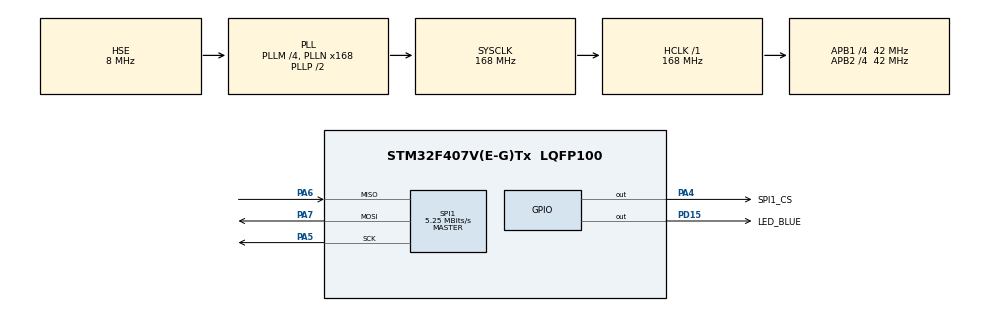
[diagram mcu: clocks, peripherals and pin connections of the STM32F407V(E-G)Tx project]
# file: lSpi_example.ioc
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Mcu.Family=STM32F4
Mcu.Name=STM32F407V(E-G)Tx
Mcu.Package=LQFP100
NVIC.PriorityGroup=NVIC_PRIORITYGROUP_4
PA13.Mode=Trace_Asynchronous_SW
PA13.Signal=SYS_JTMS-SWDIO
PA14.Mode=Trace_Asynchronous_SW
PA14.Signal=SYS_JTCK-SWCLK
PA4.GPIO_Label=SPI1_CS
PA4.GPIO_Speed=GPIO_SPEED_FREQ_HIGH
PA4.PinState=GPIO_PIN_SET
PA4.Signal=GPIO_Output
PA5.Mode=Full_Duplex_Master
PA5.Signal=SPI1_SCK
PA6.Mode=Full_Duplex_Master
PA6.Signal=SPI1_MISO
PA7.Mode=Full_Duplex_Master
PA7.Signal=SPI1_MOSI
PB3.Mode=Trace_Asynchronous_SW
PB3.Signal=SYS_JTDO-SWO
PD15.GPIO_Label=LED_BLUE
PD15.Signal=GPIO_Output
PH0-OSC_IN.Mode=HSE-External-Oscillator
PH0-OSC_IN.Signal=RCC_OSC_IN
PH1-OSC_OUT.Mode=HSE-External-Oscillator
PH1-OSC_OUT.Signal=RCC_OSC_OUT
ProjectManager.HeapSize=0x200
ProjectManager.StackSize=0x400
ProjectManager.TargetToolchain=STM32CubeIDE
RCC.48MHZClocksFreq_Value=84000000
RCC.AHBFreq_Value=168000000
RCC.APB1CLKDivider=RCC_HCLK_DIV4
RCC.APB1Freq_Value=42000000
RCC.APB1TimFreq_Value=84000000
RCC.APB2CLKDivider=RCC_HCLK_DIV4
RCC.APB2Freq_Value=42000000
RCC.APB2TimFreq_Value=84000000
RCC.CortexFreq_Value=168000000
RCC.HCLKFreq_Value=168000000
RCC.HSE_VALUE=8000000
RCC.HSI_VALUE=16000000
RCC.LSE_VALUE=32768
RCC.PLLM=4
RCC.PLLN=168
RCC.PLLSourceVirtual=RCC_PLLSOURCE_HSE
RCC.SYSCLKFreq_VALUE=168000000
RCC.SYSCLKSource=RCC_SYSCLKSOURCE_PLLCLK
RCC.VCOOutputFreq_Value=336000000
SPI1.BaudRatePrescaler=SPI_BAUDRATEPRESCALER_8
SPI1.CLKPhase=SPI_PHASE_2EDGE
SPI1.CLKPolarity=SPI_POLARITY_HIGH
SPI1.CalculateBaudRate=5.25 MBits/s
SPI1.Direction=SPI_DIRECTION_2LINES
SPI1.Mode=SPI_MODE_MASTER
SPI1.VirtualType=VM_MASTER
board=custom

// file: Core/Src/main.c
/* USER CODE BEGIN Header */
/**
  ******************************************************************************
  * @file           : main.c
  * @brief          : Main program body
  ******************************************************************************
  * @attention
  *
  * <h2><center>&copy; Copyright (c) 2020 STMicroelectronics.
  * All rights reserved.</center></h2>
  *
  * This software component is licensed by ST under BSD 3-Clause license,
  * the "License"; You may not use this file except in compliance with the
  * License. You may obtain a copy of the License at:
  *                        opensource.org/licenses/BSD-3-Clause
  *
  ******************************************************************************
  */
/* USER CODE END Header */
#include "main.h"

/* USER CODE BEGIN Includes */
#include "lSpi.h"
/* USER CODE END Includes */

void SystemClock_Config(void);
static void MX_GPIO_Init(void);
static void MX_SPI1_Init(void);

/* USER CODE BEGIN 0 */

/* Sample functions for simple SPI controlled device
 * Device tested: BMP183, full duplex
 *
 * CPOl: high, CPHA: 2 (rising edge)
 */
#define DEVICE_SPI	SPI1
#define DEVICE_GPIO	SPI1_CS_GPIO_Port
#define DEVICE_PIN	SPI1_CS_Pin

void device_writeReg(uint8_t reg_address, uint8_t reg_data)
{
	HAL_GPIO_WritePin(DEVICE_GPIO, DEVICE_PIN, 0);
	lSpi_master_writeReg(DEVICE_SPI, reg_address, reg_data);
	HAL_GPIO_WritePin(DEVICE_GPIO, DEVICE_PIN, 1);
}

void device_readReg(uint8_t reg_addres, uint8_t *data)
{
	HAL_GPIO_WritePin(DEVICE_GPIO, DEVICE_PIN, 0);
	lSpi_master_readReg(DEVICE_SPI, reg_addres, data);
	HAL_GPIO_WritePin(DEVICE_GPIO, DEVICE_PIN, 1);
}

/* USER CODE END 0 */

int main(void)
{

  /* MCU Configuration--------------------------------------------------------*/

  /* Reset of all peripherals, Initializes the Flash interface and the Systick. */
  HAL_Init();

  /* Configure the system clock */
  SystemClock_Config();

  /* Initialize all configured peripherals */
  MX_GPIO_Init();
  MX_SPI1_Init();
  /* USER CODE BEGIN 2 */

  lSpi_init(DEVICE_SPI);

  uint8_t dev_id;
  device_readReg(0xd0, &dev_id);

  /* USER CODE END 2 */

  /* Infinite loop */
  /* USER CODE BEGIN WHILE */
  while (1)
  {
  	HAL_GPIO_TogglePin(LED_BLUE_GPIO_Port, LED_BLUE_Pin);
  	HAL_Delay(500);
    /* USER CODE END WHILE */

  }
}

void SystemClock_Config(void)
{
  RCC_OscInitTypeDef RCC_OscInitStruct = {0};
  RCC_ClkInitTypeDef RCC_ClkInitStruct = {0};

  /** Configure the main internal regulator output voltage
  */
  __HAL_RCC_PWR_CLK_ENABLE();
  __HAL_PWR_VOLTAGESCALING_CONFIG(PWR_REGULATOR_VOLTAGE_SCALE1);
  /** Initializes the RCC Oscillators according to the specified parameters
  * in the RCC_OscInitTypeDef structure.
  */
  RCC_OscInitStruct.OscillatorType = RCC_OSCILLATORTYPE_HSE;
  RCC_OscInitStruct.HSEState = RCC_HSE_ON;
  RCC_OscInitStruct.PLL.PLLState = RCC_PLL_ON;
  RCC_OscInitStruct.PLL.PLLSource = RCC_PLLSOURCE_HSE;
  RCC_OscInitStruct.PLL.PLLM = 4;
  RCC_OscInitStruct.PLL.PLLN = 168;
  RCC_OscInitStruct.PLL.PLLP = RCC_PLLP_DIV2;
  RCC_OscInitStruct.PLL.PLLQ = 4;
  if (HAL_RCC_OscConfig(&RCC_OscInitStruct) != HAL_OK)
  {
    Error_Handler();
  }
  /** Initializes the CPU, AHB and APB buses clocks
  */
  RCC_ClkInitStruct.ClockType = RCC_CLOCKTYPE_HCLK|RCC_CLOCKTYPE_SYSCLK
                              |RCC_CLOCKTYPE_PCLK1|RCC_CLOCKTYPE_PCLK2;
  RCC_ClkInitStruct.SYSCLKSource = RCC_SYSCLKSOURCE_PLLCLK;
  RCC_ClkInitStruct.AHBCLKDivider = RCC_SYSCLK_DIV1;
  RCC_ClkInitStruct.APB1CLKDivider = RCC_HCLK_DIV4;
  RCC_ClkInitStruct.APB2CLKDivider = RCC_HCLK_DIV4;

  if (HAL_RCC_ClockConfig(&RCC_ClkInitStruct, FLASH_LATENCY_5) != HAL_OK)
  {
    Error_Handler();
  }
}

static void MX_SPI1_Init(void)
{

  LL_SPI_InitTypeDef SPI_InitStruct = {0};

  LL_GPIO_InitTypeDef GPIO_InitStruct = {0};

  /* Peripheral clock enable */
  LL_APB2_GRP1_EnableClock(LL_APB2_GRP1_PERIPH_SPI1);

  LL_AHB1_GRP1_EnableClock(LL_AHB1_GRP1_PERIPH_GPIOA);
  /**SPI1 GPIO Configuration
  PA5   ------> SPI1_SCK
  PA6   ------> SPI1_MISO
  PA7   ------> SPI1_MOSI
  */
  GPIO_InitStruct.Pin = LL_GPIO_PIN_5|LL_GPIO_PIN_6|LL_GPIO_PIN_7;
  GPIO_InitStruct.Mode = LL_GPIO_MODE_ALTERNATE;
  GPIO_InitStruct.Speed = LL_GPIO_SPEED_FREQ_VERY_HIGH;
  GPIO_InitStruct.OutputType = LL_GPIO_OUTPUT_PUSHPULL;
  GPIO_InitStruct.Pull = LL_GPIO_PULL_NO;
  GPIO_InitStruct.Alternate = LL_GPIO_AF_5;
  LL_GPIO_Init(GPIOA, &GPIO_InitStruct);

  /* SPI1 parameter configuration*/
  SPI_InitStruct.TransferDirection = LL_SPI_FULL_DUPLEX;
  SPI_InitStruct.Mode = LL_SPI_MODE_MASTER;
  SPI_InitStruct.DataWidth = LL_SPI_DATAWIDTH_8BIT;
  SPI_InitStruct.ClockPolarity = LL_SPI_POLARITY_HIGH;
  SPI_InitStruct.ClockPhase = LL_SPI_PHASE_2EDGE;
  SPI_InitStruct.NSS = LL_SPI_NSS_SOFT;
  SPI_InitStruct.BaudRate = LL_SPI_BAUDRATEPRESCALER_DIV8;
  SPI_InitStruct.BitOrder = LL_SPI_MSB_FIRST;
  SPI_InitStruct.CRCCalculation = LL_SPI_CRCCALCULATION_DISABLE;
  SPI_InitStruct.CRCPoly = 10;
  LL_SPI_Init(SPI1, &SPI_InitStruct);
  LL_SPI_SetStandard(SPI1, LL_SPI_PROTOCOL_MOTOROLA);

}

static void MX_GPIO_Init(void)
{
  GPIO_InitTypeDef GPIO_InitStruct = {0};

  /* GPIO Ports Clock Enable */
  __HAL_RCC_GPIOH_CLK_ENABLE();
  __HAL_RCC_GPIOA_CLK_ENABLE();
  __HAL_RCC_GPIOD_CLK_ENABLE();
  __HAL_RCC_GPIOB_CLK_ENABLE();

  /*Configure GPIO pin Output Level */
  HAL_GPIO_WritePin(SPI1_CS_GPIO_Port, SPI1_CS_Pin, GPIO_PIN_SET);

  /*Configure GPIO pin Output Level */
  HAL_GPIO_WritePin(LED_BLUE_GPIO_Port, LED_BLUE_Pin, GPIO_PIN_RESET);

  /*Configure GPIO pin : SPI1_CS_Pin */
  GPIO_InitStruct.Pin = SPI1_CS_Pin;
  GPIO_InitStruct.Mode = GPIO_MODE_OUTPUT_PP;
  GPIO_InitStruct.Pull = GPIO_NOPULL;
  GPIO_InitStruct.Speed = GPIO_SPEED_FREQ_HIGH;
  HAL_GPIO_Init(SPI1_CS_GPIO_Port, &GPIO_InitStruct);

  /*Configure GPIO pin : LED_BLUE_Pin */
  GPIO_InitStruct.Pin = LED_BLUE_Pin;
  GPIO_InitStruct.Mode = GPIO_MODE_OUTPUT_PP;
  GPIO_InitStruct.Pull = GPIO_NOPULL;
  GPIO_InitStruct.Speed = GPIO_SPEED_FREQ_LOW;
  HAL_GPIO_Init(LED_BLUE_GPIO_Port, &GPIO_InitStruct);

}

void Error_Handler(void)
{
}

/************************ (C) COPYRIGHT STMicroelectronics *****END OF FILE****/
